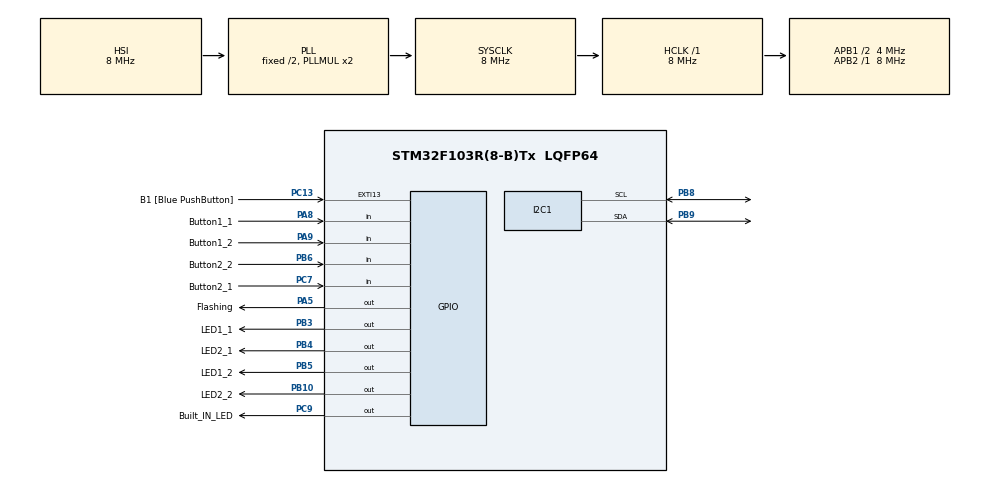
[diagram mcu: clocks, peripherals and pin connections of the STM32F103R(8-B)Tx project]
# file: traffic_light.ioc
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Mcu.Family=STM32F1
Mcu.Name=STM32F103R(8-B)Tx
Mcu.Package=LQFP64
NVIC.EXTI15_10_IRQn=true\:0\:0\:false\:false\:true\:true\:true\:true
NVIC.PriorityGroup=NVIC_PRIORITYGROUP_4
NVIC.TIM2_IRQn=true\:0\:0\:false\:false\:true\:true\:true\:true
PA13.GPIO_Label=TMS
PA13.Mode=Serial_Wire
PA13.Signal=SYS_JTMS-SWDIO
PA14.GPIO_Label=TCK
PA14.Mode=Serial_Wire
PA14.Signal=SYS_JTCK-SWCLK
PA5.GPIO_Label=Flashing
PA5.Signal=GPIO_Output
PA8.GPIO_Label=Button1_1
PA8.Signal=GPIO_Input
PA9.GPIO_Label=Button1_2
PA9.Signal=GPIO_Input
PB10.GPIO_Label=LED2_2
PB10.Signal=GPIO_Output
PB3.GPIO_Label=LED1_1
PB3.Signal=GPIO_Output
PB4.GPIO_Label=LED2_1
PB4.Signal=GPIO_Output
PB5.GPIO_Label=LED1_2
PB5.Signal=GPIO_Output
PB6.GPIO_Label=Button2_2
PB6.Signal=GPIO_Input
PB8.Mode=I2C
PB8.Signal=I2C1_SCL
PB9.Mode=I2C
PB9.Signal=I2C1_SDA
PC13-TAMPER-RTC.GPIO_Label=B1 [Blue PushButton]
PC13-TAMPER-RTC.GPIO_PuPd=GPIO_NOPULL
PC13-TAMPER-RTC.Signal=GPXTI13
PC14-OSC32_IN.Mode=LSE-External-Oscillator
PC14-OSC32_IN.Signal=RCC_OSC32_IN
PC15-OSC32_OUT.Mode=LSE-External-Oscillator
PC15-OSC32_OUT.Signal=RCC_OSC32_OUT
PC7.GPIO_Label=Button2_1
PC7.Signal=GPIO_Input
PC9.GPIO_Label=Built_IN_LED
PC9.Signal=GPIO_Output
PD0-OSC_IN.Mode=HSE-External-Clock-Source
PD0-OSC_IN.Signal=RCC_OSC_IN
PD1-OSC_OUT.Mode=HSE-External-Clock-Source
PD1-OSC_OUT.Signal=RCC_OSC_OUT
ProjectManager.HeapSize=0x200
ProjectManager.StackSize=0x400
ProjectManager.TargetToolchain=CMake
RCC.AHBFreq_Value=8000000
RCC.APB1CLKDivider=RCC_HCLK_DIV2
RCC.APB1Freq_Value=4000000
RCC.APB1TimFreq_Value=8000000
RCC.APB2Freq_Value=8000000
RCC.APB2TimFreq_Value=8000000
RCC.HCLKFreq_Value=8000000
RCC.RTCClockSelection=RCC_RTCCLKSOURCE_LSE
RCC.SYSCLKFreq_VALUE=8000000
RCC.SYSCLKSource=RCC_SYSCLKSOURCE_PLLCLK
RCC.USBFreq_Value=8000000
TIM2.CounterMode=TIM_COUNTERMODE_UP
TIM2.Period=9
TIM2.Prescaler=7999
VP_TIM2_VS_ClockSourceINT.Mode=Internal
board=NUCLEO-F103RB

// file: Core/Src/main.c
/* USER CODE BEGIN Header */
/**
 ******************************************************************************
 * @file           : main.c
 * @brief          : Main program body
 ******************************************************************************
 */
/* USER CODE END Header */
#include "main.h"

/* USER CODE BEGIN Includes */
#include "global.h"
#include "scheduler.h"
#include "button.h"
#include "traffic_light.h"
#include "lcd.h"
#include "dht20.h"
#include "env_display.h"
#include "fsm_auto.h"
#include "fsm_manual.h"
#include "fsm_setting.h"
#include "i2c.h"
#include "tim.h"
#include "gpio.h"
/* USER CODE END Includes */

/* USER CODE BEGIN PV */
static Traffic_Light_State road_1_state = TL_OFF;
static Traffic_Light_State road_2_state = TL_OFF;

static uint8_t tick_250ms_cnt = 0;
static uint8_t tick_1s_cnt = 0;
/* USER CODE END PV */

void SystemClock_Config(void);

/* USER CODE BEGIN PFP */
void system_fsm_task(void);
/* USER CODE END PFP */

/* USER CODE BEGIN 0 */
void system_fsm_task(void)
{
  /* 1. Tao co su kien thoi gian TICK_250MS (25 ticks) va TICK_1S (100 ticks) */
  if (++tick_250ms_cnt >= (250U / SCHEDULER_TICK_MS))
  {
    tick_250ms_cnt = 0;
    event.TICK_250MS = true;
  }

  if (++tick_1s_cnt >= TICK_PER_SEC)
  {
    tick_1s_cnt = 0;
    event.TICK_1S = true;
  }

  /* 2. Doc su kien tu cac nut nhan */
  if (is_button_pressed(0))
    event.MODE_CHANGE = true;
  if (is_button_pressed(1))
    event.SWITCH_LIGHT = true;
  if (is_button_long_pressed(1))
    event.CONFIRM = true;
  if (is_button_pressed(2) || is_button_long_pressed(2))
    event.INCREASE = true;
  if (is_button_pressed(3) || is_button_long_pressed(3))
    event.DECREASE = true;
#if (NUM_BUTTONS >= 5)
  if (is_button_pressed(4))
    event.CONFIRM = true; /* Nut B1 (PC13) */
#endif

  if (curr_mode == MODE_MANUAL && event.SWITCH_LIGHT)
  {
    tick_1s_cnt = 0;
  }

  /* 3. Chuyen Mode khi co su kien MODE_CHANGE */
  if (event.MODE_CHANGE)
  {
    switch (curr_mode)
    {
    case MODE_AUTO:
      fsm_auto_exit();
      curr_mode = MODE_MANUAL;
      fsm_manual_enter();
      break;

    case MODE_MANUAL:
      fsm_manual_exit();
      curr_mode = MODE_SETTING;
      fsm_setting_enter();
      break;

    case MODE_SETTING:
      fsm_setting_exit();
      curr_mode = MODE_AUTO;
      fsm_auto_enter();
      break;

    default:
      curr_mode = MODE_AUTO;
      fsm_auto_enter();
      break;
    }
    // Give the newly entered mode a full 1s / 250ms period
    tick_1s_cnt = 0;
    tick_250ms_cnt = 0;
    event.TICK_1S = false;
    event.TICK_250MS = false;
  }

  /* 4. Chay FSM cua Mode hien tai */
  switch (curr_mode)
  {
  case MODE_AUTO:
    fsm_auto_run();
    break;
  case MODE_MANUAL:
    fsm_manual_run();
    break;
  case MODE_SETTING:
    fsm_setting_run();
    break;
  default:
    break;
  }

  /* 5. Kiem tra an toan & xuat trang thai den ra GPIO qua traffic_light.c */
  if (curr_mode != MODE_SETTING && road_1_state == TL_GREEN && road_2_state == TL_GREEN)
  {
    road_1_state = TL_RED;
    road_2_state = TL_RED;
  }

  if (road_1_state != traffic_get(1))
  {
    traffic_set(1, road_1_state);
  }
  if (road_2_state != traffic_get(2))
  {
    traffic_set(2, road_2_state);
  }

  /* 6. Xoa toan bo co su kien one-shot sau moi chu ky */
  event = (System_Event_t){0};
}
/* USER CODE END 0 */

int main(void)
{

  /* MCU Configuration--------------------------------------------------------*/

  /* Reset of all peripherals, Initializes the Flash interface and the Systick. */
  HAL_Init();

  /* Configure the system clock */
  SystemClock_Config();

  /* Initialize all configured peripherals */
  MX_GPIO_Init();
  MX_I2C1_Init();
  MX_TIM2_Init();
  /* USER CODE BEGIN 2 */
  SCH_Init();
  button_init();
  traffic_light_init();
  lcd_init(&hi2c1, LCD_DEFAULT_ADDR);
  dht20_init(&hi2c1);

  fsm_auto_init(&curr_light_config, &road_1_state, &road_2_state, &curr_disp_data);
  fsm_manual_init(&curr_light_config, &road_1_state, &road_2_state, &curr_disp_data);
  fsm_setting_init(&curr_light_config, &road_1_state, &road_2_state, &curr_disp_data);

  curr_mode = MODE_AUTO;
  fsm_auto_enter();

  SCH_Add_Task(button_reading, 0, 1);
  SCH_Add_Task(system_fsm_task, 0, 1);
  SCH_Add_Task(display_task, 5, 10);
  SCH_Add_Task(lcd_flush_task, 6, 5);
  SCH_Add_Task(env_sample_task, 10, 200);

  HAL_TIM_Base_Start_IT(&htim2);
  /* USER CODE END 2 */

  /* Infinite loop */
  /* USER CODE BEGIN WHILE */
  while (1)
  {
    SCH_Dispatch_Tasks();
    __WFI();
    /* USER CODE END WHILE */

  }
}

void SystemClock_Config(void)
{
  RCC_OscInitTypeDef RCC_OscInitStruct = {0};
  RCC_ClkInitTypeDef RCC_ClkInitStruct = {0};

  RCC_OscInitStruct.OscillatorType = RCC_OSCILLATORTYPE_HSI;
  RCC_OscInitStruct.HSIState = RCC_HSI_ON;
  RCC_OscInitStruct.HSICalibrationValue = RCC_HSICALIBRATION_DEFAULT;
  RCC_OscInitStruct.PLL.PLLState = RCC_PLL_ON;
  RCC_OscInitStruct.PLL.PLLSource = RCC_PLLSOURCE_HSI_DIV2;
  RCC_OscInitStruct.PLL.PLLMUL = RCC_PLL_MUL2;
  if (HAL_RCC_OscConfig(&RCC_OscInitStruct) != HAL_OK)
  {
    Error_Handler();
  }

  RCC_ClkInitStruct.ClockType = RCC_CLOCKTYPE_HCLK | RCC_CLOCKTYPE_SYSCLK | RCC_CLOCKTYPE_PCLK1 | RCC_CLOCKTYPE_PCLK2;
  RCC_ClkInitStruct.SYSCLKSource = RCC_SYSCLKSOURCE_PLLCLK;
  RCC_ClkInitStruct.AHBCLKDivider = RCC_SYSCLK_DIV1;
  RCC_ClkInitStruct.APB1CLKDivider = RCC_HCLK_DIV2;
  RCC_ClkInitStruct.APB2CLKDivider = RCC_HCLK_DIV1;

  if (HAL_RCC_ClockConfig(&RCC_ClkInitStruct, FLASH_LATENCY_0) != HAL_OK)
  {
    Error_Handler();
  }
}

void Error_Handler(void)
{
  __disable_irq();
  while (1)
  {
  }
}
